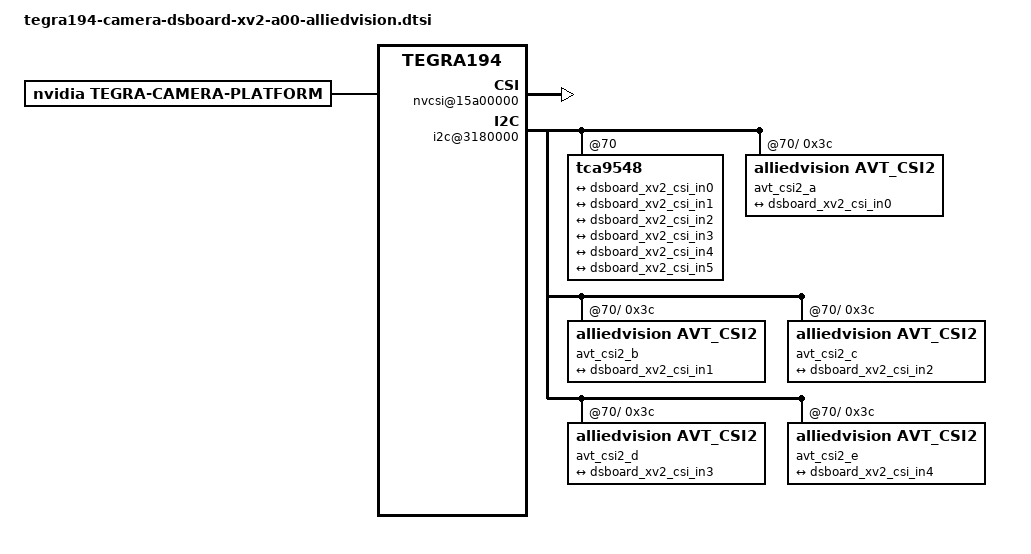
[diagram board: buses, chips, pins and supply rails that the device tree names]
/*
 * Copyright (c) 2015-2019, NVIDIA CORPORATION.  All rights reserved.
 *
 * This program is free software; you can redistribute it and/or modify
 * it under the terms of the GNU General Public License as published by
 * the Free Software Foundation; either version 2 of the License, or
 * (at your option) any later version.
 *
 * This program is distributed in the hope that it will be useful, but WITHOUT
 * ANY WARRANTY; without even the implied warranty of MERCHANTABILITY or
 * FITNESS FOR A PARTICULAR PURPOSE.  See the GNU General Public License for
 * more details.
 *
 * You should have received a copy of the GNU General Public License
 * along with this program.  If not, see <http://www.gnu.org/licenses/>.
 */

/ {
	host1x {
		vi@15c10000 {
			num-channels = <6>;
			ports {
				#address-cells = <1>;
				#size-cells = <0>;
				port@0 {
					status = "okay";
					reg = <0>;
					dsboard_xv2_vi_in0: endpoint {
						status = "okay";
						port-index = <0>;
						bus-width = <2>;
						remote-endpoint = <&dsboard_xv2_csi_out0>;
					};
				};
				port@1 {
					status = "okay";
					reg = <1>;
					dsboard_xv2_vi_in1: endpoint {
						status = "okay";
						port-index = <1>;
						bus-width = <2>;
						remote-endpoint = <&dsboard_xv2_csi_out1>;
					};
				};
				port@2 {
					status = "okay";
					reg = <2>;
					dsboard_xv2_vi_in2: endpoint {
						status = "okay";
						port-index = <2>;
						bus-width = <2>;
						remote-endpoint = <&dsboard_xv2_csi_out2>;
					};
				};
				port@3 {
					status = "okay";
					reg = <3>;
					dsboard_xv2_vi_in3: endpoint {
						status = "okay";
						port-index = <3>;
						bus-width = <2>;
						remote-endpoint = <&dsboard_xv2_csi_out3>;
					};
				};
				port@4 {
					status = "okay";
					reg = <4>;
					dsboard_xv2_vi_in4: endpoint {
						status = "okay";
						port-index = <4>;
						bus-width = <2>;
						remote-endpoint = <&dsboard_xv2_csi_out4>;
					};
				};
				port@5 {
					status="disabled";
					reg = <5>;
					dsboard_xv2_vi_in5: endpoint {
						status="disabled";
						port-index = <5>;
						bus-width = <2>;
						remote-endpoint = <&dsboard_xv2_csi_out5>;
					};
				};
			};
		};

		nvcsi@15a00000 {
			num-channels = <6>;
			#address-cells = <1>;
			#size-cells = <0>;
			status = "okay";
			channel@0 {
				status = "okay";
				reg = <0>;
				ports {
					#address-cells = <1>;
					#size-cells = <0>;
					port@0 {
						status = "okay";
						reg = <0>;
						dsboard_xv2_csi_in0: endpoint@0 {
							status = "okay";
							port-index = <0>;
							bus-width = <2>;
							remote-endpoint = <&dsboard_xv2_avt_csi2_out0>;
						};
					};
					port@1 {
						status = "okay";
						reg = <1>;
						dsboard_xv2_csi_out0: endpoint@1 {
							status = "okay";
							remote-endpoint = <&dsboard_xv2_vi_in0>;
						};
					};
				};
			};
			channel@1 {
				status = "okay";
				reg = <1>;
				ports {
					#address-cells = <1>;
					#size-cells = <0>;
					port@0 {
						status = "okay";
						reg = <0>;
						dsboard_xv2_csi_in1: endpoint@2 {
							status = "okay";
							port-index = <1>;
							bus-width = <2>;
							remote-endpoint = <&dsboard_xv2_avt_csi2_out1>;
						};
					};
					port@1 {
						status = "okay";
						reg = <1>;
						dsboard_xv2_csi_out1: endpoint@3 {
							status = "okay";
							remote-endpoint = <&dsboard_xv2_vi_in1>;
						};
					};
				};
			};
			channel@2 {
				status = "okay";
				reg = <2>;
				ports {
					#address-cells = <1>;
					#size-cells = <0>;
					port@0 {
						status = "okay";
						reg = <0>;
						dsboard_xv2_csi_in2: endpoint@4 {
							status = "okay";
							port-index = <2>;
							bus-width = <2>;
							remote-endpoint = <&dsboard_xv2_avt_csi2_out2>;
						};
					};
					port@1 {
						status = "okay";
						reg = <1>;
						dsboard_xv2_csi_out2: endpoint@5 {
							status = "okay";
							remote-endpoint = <&dsboard_xv2_vi_in2>;
						};
					};
				};
			};
			channel@3 {
				status = "okay";
				reg = <3>;
				ports {
					#address-cells = <1>;
					#size-cells = <0>;
					port@0 {
						status = "okay";
						reg = <0>;
						dsboard_xv2_csi_in3: endpoint@6 {
							status = "okay";
							port-index = <3>;
							bus-width = <2>;
							remote-endpoint = <&dsboard_xv2_avt_csi2_out3>;
						};
					};
					port@1 {
						status = "okay";
						reg = <1>;
						dsboard_xv2_csi_out3: endpoint@7 {
							status = "okay";
							remote-endpoint = <&dsboard_xv2_vi_in3>;
						};
					};
				};
			};
			channel@4 {
				status = "okay";
				reg = <4>;
				ports {
					#address-cells = <1>;
					#size-cells = <0>;
					port@0 {
						status = "okay";
						reg = <0>;
						dsboard_xv2_csi_in4: endpoint@8 {
							status = "okay";
							port-index = <4>;
							bus-width = <2>;
							remote-endpoint = <&dsboard_xv2_avt_csi2_out4>;
						};
					};
					port@1 {
						status = "okay";
						reg = <1>;
						dsboard_xv2_csi_out4: endpoint@9 {
							status = "okay";
							remote-endpoint = <&dsboard_xv2_vi_in4>;
						};
					};
				};
			};
			channel@5 { //in next board revision, the port-index should be updated to 6-G.
				status="disabled";
				reg = <5>;
				ports {
					#address-cells = <1>;
					#size-cells = <0>;
					port@0 {
						status="disabled";
						reg = <0>;
						dsboard_xv2_csi_in5: endpoint@10 {
							status="disabled";
							port-index = <5>;
							bus-width = <2>;
							remote-endpoint = <&dsboard_xv2_avt_csi2_out5>;
						};
					};
					port@1 {
						status="disabled";
						reg = <1>;
						dsboard_xv2_csi_out5: endpoint@11 {
							status="disabled";
							remote-endpoint = <&dsboard_xv2_vi_in5>;
						};
					};
				};
			};
		};
	};

	i2c@3180000 {
		tca9548@70 {
			i2c@0 {
				status = "okay";
				avt_csi2_a@3c {
					compatible = "alliedvision,avt_csi2";
					/* I2C device address */
					reg = <0x3c>;

					/* V4L2 device node location */
					devnode = "video0";

					/* Physical dimensions of sensor */
					//physical_w = "3.680";
					//physical_h = "2.760";

					sensor_model = "avt_csi2";

					use_sensor_mode_id = "true";

					/**
					* ==== Modes ====
					* A modeX node is required to support v4l2 driver
					* implementation with NVIDIA camera software stack
					*
					* == Signal properties ==
					*
					* phy_mode = "";
					* PHY mode used by the MIPI lanes for this device
					*
					* tegra_sinterface = "";
					* CSI Serial interface connected to tegra
					* Incase of virtual HW devices, use virtual
					* For SW emulated devices, use host
					*
					* pix_clk_hz = "";
					* Sensor pixel clock used for calculations like exposure and framerate
					*
					* readout_orientation = "0";
					* Based on camera module orientation.
					* Only change readout_orientation if you specifically
					* Program a different readout order for this mode
					*
					* == Image format Properties ==
					*
					* active_w = "";
					* Pixel active region width
					*
					* active_h = "";
					* Pixel active region height
					*
					* pixel_t = "";
					* The sensor readout pixel pattern
					*
					* line_length = "";
					* Pixel line length (width) for sensor mode.
					*
					* == Source Control Settings ==
					*
					* Gain factor used to convert fixed point integer to float
					* Gain range [min_gain/gain_factor, max_gain/gain_factor]
					* Gain step [step_gain/gain_factor is the smallest step that can be configured]
					* Default gain [Default gain to be initialized for the control.
					*     use min_gain_val as default for optimal results]
					* Framerate factor used to convert fixed point integer to float
					* Framerate range [min_framerate/framerate_factor, max_framerate/framerate_factor]
					* Framerate step [step_framerate/framerate_factor is the smallest step that can be configured]
					* Default Framerate [Default framerate to be initialized for the control.
					*     use max_framerate to get required performance]
					* Exposure factor used to convert fixed point integer to float
					* For convenience use 1 sec = 1000000us as conversion factor
					* Exposure range [min_exp_time/exposure_factor, max_exp_time/exposure_factor]
					* Exposure step [step_exp_time/exposure_factor is the smallest step that can be configured]
					* Default Exposure Time [Default exposure to be initialized for the control.
					*     Set default exposure based on the default_framerate for optimal exposure settings]
					*
					* gain_factor = ""; (integer factor used for floating to fixed point conversion)
					* min_gain_val = ""; (ceil to integer)
					* max_gain_val = ""; (ceil to integer)
					* step_gain_val = ""; (ceil to integer)
					* default_gain = ""; (ceil to integer)
					* Gain limits for mode
					*
					* exposure_factor = ""; (integer factor used for floating to fixed point conversion)
					* min_exp_time = ""; (ceil to integer)
					* max_exp_time = ""; (ceil to integer)
					* step_exp_time = ""; (ceil to integer)
					* default_exp_time = ""; (ceil to integer)
					* Exposure Time limits for mode (sec)
					*
					* framerate_factor = ""; (integer factor used for floating to fixed point conversion)
					* min_framerate = ""; (ceil to integer)
					* max_framerate = ""; (ceil to integer)
					* step_framerate = ""; (ceil to integer)
					* default_framerate = ""; (ceil to integer)
					* Framerate limits for mode (fps)
					*
					* embedded_metadata_height = "";
					* Sensor embedded metadata height in units of rows.
					* If sensor does not support embedded metadata value should be 0.
					*/
					mode0 {
						num_lanes = "2";
						tegra_sinterface = "serial_a";
						discontinuous_clk = "no"; /* "yes"; */
						cil_settletime = "0";
						embedded_metadata_height = "0";

						/* not verified: */
						mclk_khz = "24000";
						phy_mode = "DPHY";
						dpcm_enable = "false";

						active_w = "5488"; /* "3264"; */
						active_h = "4112"; /* "2464"; */
						pixel_t = "bayer_bggr"; /* "bayer_rggb"; */
						readout_orientation = "0"; /* "90"; */
						line_length = "5488"; /* "3448"; */
						inherent_gain = "1";
						mclk_multiplier = "31.25"; /* "9.33"; */
						pix_clk_hz = "750000000"; /* "182400000"; */

						gain_factor = "16";
						framerate_factor = "1000000";
						exposure_factor = "1000000";
						min_gain_val = "16"; /* 1.0 */
						max_gain_val = "256"; /* 16.0 */ /* "170"; */
						step_gain_val = "1"; /* 0.125 */
						/* default_gain = "16"; */ /* 1.00x */
						min_hdr_ratio = "1";
						max_hdr_ratio = "64"; /* "1"; */
						min_framerate = "1500000"; /* 1.5 */ /* "2000000"; */
						max_framerate = "30000000"; /* 30 */ /* "21000000"; */
						step_framerate = "1";
						/* default_framerate = "21000000"; */ /* 21.0 fps */
						min_exp_time = "34"; /* us */ /* "13"; */
						max_exp_time = "550385"; /* us */ /* "683709"; */
						step_exp_time = "1";
						/* default_exp_time = "2495"; */ /* us */

						/* embedded_metadata_height = "2"; */
					};

					ports {
						#address-cells = <1>;
						#size-cells = <0>;

						port@0 {
							status = "okay";
							reg = <0>;
							dsboard_xv2_avt_csi2_out0: endpoint {
								status = "okay";
								port-index = <0>;
								bus-width = <2>;
								remote-endpoint = <&dsboard_xv2_csi_in0>;
							};
						};
					};
				};
			};

			i2c@1 {
				avt_csi2_b@3c {
					compatible = "alliedvision,avt_csi2";
					/* I2C device address */
					reg = <0x3c>;

					/* V4L2 device node location */
					devnode = "video1";

					/* Physical dimensions of sensor */
					//physical_w = "3.680";
					//physical_h = "2.760";

					sensor_model = "avt_csi2";

					use_sensor_mode_id = "true";

					/**
					* ==== Modes ====
					* A modeX node is required to support v4l2 driver
					* implementation with NVIDIA camera software stack
					*
					* == Signal properties ==
					*
					* phy_mode = "";
					* PHY mode used by the MIPI lanes for this device
					*
					* tegra_sinterface = "";
					* CSI Serial interface connected to tegra
					* Incase of virtual HW devices, use virtual
					* For SW emulated devices, use host
					*
					* pix_clk_hz = "";
					* Sensor pixel clock used for calculations like exposure and framerate
					*
					* readout_orientation = "0";
					* Based on camera module orientation.
					* Only change readout_orientation if you specifically
					* Program a different readout order for this mode
					*
					* == Image format Properties ==
					*
					* active_w = "";
					* Pixel active region width
					*
					* active_h = "";
					* Pixel active region height
					*
					* pixel_t = "";
					* The sensor readout pixel pattern
					*
					* line_length = "";
					* Pixel line length (width) for sensor mode.
					*
					* == Source Control Settings ==
					*
					* Gain factor used to convert fixed point integer to float
					* Gain range [min_gain/gain_factor, max_gain/gain_factor]
					* Gain step [step_gain/gain_factor is the smallest step that can be configured]
					* Default gain [Default gain to be initialized for the control.
					*     use min_gain_val as default for optimal results]
					* Framerate factor used to convert fixed point integer to float
					* Framerate range [min_framerate/framerate_factor, max_framerate/framerate_factor]
					* Framerate step [step_framerate/framerate_factor is the smallest step that can be configured]
					* Default Framerate [Default framerate to be initialized for the control.
					*     use max_framerate to get required performance]
					* Exposure factor used to convert fixed point integer to float
					* For convenience use 1 sec = 1000000us as conversion factor
					* Exposure range [min_exp_time/exposure_factor, max_exp_time/exposure_factor]
					* Exposure step [step_exp_time/exposure_factor is the smallest step that can be configured]
					* Default Exposure Time [Default exposure to be initialized for the control.
					*     Set default exposure based on the default_framerate for optimal exposure settings]
					*
					* gain_factor = ""; (integer factor used for floating to fixed point conversion)
					* min_gain_val = ""; (ceil to integer)
					* max_gain_val = ""; (ceil to integer)
					* step_gain_val = ""; (ceil to integer)
					* default_gain = ""; (ceil to integer)
					* Gain limits for mode
					*
					* exposure_factor = ""; (integer factor used for floating to fixed point conversion)
					* min_exp_time = ""; (ceil to integer)
					* max_exp_time = ""; (ceil to integer)
					* step_exp_time = ""; (ceil to integer)
					* default_exp_time = ""; (ceil to integer)
					* Exposure Time limits for mode (sec)
					*
					* framerate_factor = ""; (integer factor used for floating to fixed point conversion)
					* min_framerate = ""; (ceil to integer)
					* max_framerate = ""; (ceil to integer)
					* step_framerate = ""; (ceil to integer)
					* default_framerate = ""; (ceil to integer)
					* Framerate limits for mode (fps)
					*
					* embedded_metadata_height = "";
					* Sensor embedded metadata height in units of rows.
					* If sensor does not support embedded metadata value should be 0.
					*/
					mode0 {
						num_lanes = "2";
						tegra_sinterface = "serial_b";
						discontinuous_clk = "no"; /* "yes"; */
						cil_settletime = "0";
						embedded_metadata_height = "0";

						/* not verified: */
						mclk_khz = "24000";
						phy_mode = "DPHY";
						dpcm_enable = "false";

						active_w = "5488"; /* "3264"; */
						active_h = "4112"; /* "2464"; */
						pixel_t = "bayer_bggr"; /* "bayer_rggb"; */
						readout_orientation = "0"; /* "90"; */
						line_length = "5488"; /* "3448"; */
						inherent_gain = "1";
						mclk_multiplier = "31.25"; /* "9.33"; */
						pix_clk_hz = "750000000"; /* "182400000"; */

						gain_factor = "16";
						framerate_factor = "1000000";
						exposure_factor = "1000000";
						min_gain_val = "16"; /* 1.0 */
						max_gain_val = "256"; /* 16.0 */ /* "170"; */
						step_gain_val = "1"; /* 0.125 */
						/* default_gain = "16"; */ /* 1.00x */
						min_hdr_ratio = "1";
						max_hdr_ratio = "64"; /* "1"; */
						min_framerate = "1500000"; /* 1.5 */ /* "2000000"; */
						max_framerate = "30000000"; /* 30 */ /* "21000000"; */
						step_framerate = "1";
						/* default_framerate = "21000000"; */ /* 21.0 fps */
						min_exp_time = "34"; /* us */ /* "13"; */
						max_exp_time = "550385"; /* us */ /* "683709"; */
						step_exp_time = "1";
						/* default_exp_time = "2495"; */ /* us */

						/* embedded_metadata_height = "2"; */
					};

					ports {
						#address-cells = <1>;
						#size-cells = <0>;

						port@0 {
							reg = <0>;
							dsboard_xv2_avt_csi2_out1: endpoint {
								port-index = <1>;
								bus-width = <2>;
								remote-endpoint = <&dsboard_xv2_csi_in1>;
							};
						};
					};
				};
			};

			i2c@2 {
				avt_csi2_c@3c {
					compatible = "alliedvision,avt_csi2";
					/* I2C device address */
					reg = <0x3c>;

					/* V4L2 device node location */
					devnode = "video2";

					/* Physical dimensions of sensor */
					//physical_w = "3.680";
					//physical_h = "2.760";

					sensor_model = "avt_csi2";

					use_sensor_mode_id = "true";

					/**
					* ==== Modes ====
					* A modeX node is required to support v4l2 driver
					* implementation with NVIDIA camera software stack
					*
					* == Signal properties ==
					*
					* phy_mode = "";
					* PHY mode used by the MIPI lanes for this device
					*
					* tegra_sinterface = "";
					* CSI Serial interface connected to tegra
					* Incase of virtual HW devices, use virtual
					* For SW emulated devices, use host
					*
					* pix_clk_hz = "";
					* Sensor pixel clock used for calculations like exposure and framerate
					*
					* readout_orientation = "0";
					* Based on camera module orientation.
					* Only change readout_orientation if you specifically
					* Program a different readout order for this mode
					*
					* == Image format Properties ==
					*
					* active_w = "";
					* Pixel active region width
					*
					* active_h = "";
					* Pixel active region height
					*
					* pixel_t = "";
					* The sensor readout pixel pattern
					*
					* line_length = "";
					* Pixel line length (width) for sensor mode.
					*
					* == Source Control Settings ==
					*
					* Gain factor used to convert fixed point integer to float
					* Gain range [min_gain/gain_factor, max_gain/gain_factor]
					* Gain step [step_gain/gain_factor is the smallest step that can be configured]
					* Default gain [Default gain to be initialized for the control.
					*     use min_gain_val as default for optimal results]
					* Framerate factor used to convert fixed point integer to float
					* Framerate range [min_framerate/framerate_factor, max_framerate/framerate_factor]
					* Framerate step [step_framerate/framerate_factor is the smallest step that can be configured]
					* Default Framerate [Default framerate to be initialized for the control.
					*     use max_framerate to get required performance]
					* Exposure factor used to convert fixed point integer to float
					* For convenience use 1 sec = 1000000us as conversion factor
					* Exposure range [min_exp_time/exposure_factor, max_exp_time/exposure_factor]
					* Exposure step [step_exp_time/exposure_factor is the smallest step that can be configured]
					* Default Exposure Time [Default exposure to be initialized for the control.
					*     Set default exposure based on the default_framerate for optimal exposure settings]
					*
					* gain_factor = ""; (integer factor used for floating to fixed point conversion)
					* min_gain_val = ""; (ceil to integer)
					* max_gain_val = ""; (ceil to integer)
					* step_gain_val = ""; (ceil to integer)
					* default_gain = ""; (ceil to integer)
					* Gain limits for mode
					*
					* exposure_factor = ""; (integer factor used for floating to fixed point conversion)
					* min_exp_time = ""; (ceil to integer)
					* max_exp_time = ""; (ceil to integer)
					* step_exp_time = ""; (ceil to integer)
					* default_exp_time = ""; (ceil to integer)
					* Exposure Time limits for mode (sec)
					*
					* framerate_factor = ""; (integer factor used for floating to fixed point conversion)
					* min_framerate = ""; (ceil to integer)
					* max_framerate = ""; (ceil to integer)
					* step_framerate = ""; (ceil to integer)
					* default_framerate = ""; (ceil to integer)
					* Framerate limits for mode (fps)
					*
					* embedded_metadata_height = "";
					* Sensor embedded metadata height in units of rows.
					* If sensor does not support embedded metadata value should be 0.
					*/
					mode0 {
						num_lanes = "2";
						tegra_sinterface = "serial_c";
						discontinuous_clk = "no"; /* "yes"; */
						cil_settletime = "0";
						embedded_metadata_height = "0";

						/* not verified: */
						mclk_khz = "24000";
						phy_mode = "DPHY";
						dpcm_enable = "false";

						active_w = "5488"; /* "3264"; */
						active_h = "4112"; /* "2464"; */
						pixel_t = "bayer_bggr"; /* "bayer_rggb"; */
						readout_orientation = "0"; /* "90"; */
						line_length = "5488"; /* "3448"; */
						inherent_gain = "1";
						mclk_multiplier = "31.25"; /* "9.33"; */
						pix_clk_hz = "750000000"; /* "182400000"; */

						gain_factor = "16";
						framerate_factor = "1000000";
						exposure_factor = "1000000";
						min_gain_val = "16"; /* 1.0 */
						max_gain_val = "256"; /* 16.0 */ /* "170"; */
						step_gain_val = "1"; /* 0.125 */
						/* default_gain = "16"; */ /* 1.00x */
						min_hdr_ratio = "1";
						max_hdr_ratio = "64"; /* "1"; */
						min_framerate = "1500000"; /* 1.5 */ /* "2000000"; */
						max_framerate = "30000000"; /* 30 */ /* "21000000"; */
						step_framerate = "1";
						/* default_framerate = "21000000"; */ /* 21.0 fps */
						min_exp_time = "34"; /* us */ /* "13"; */
						max_exp_time = "550385"; /* us */ /* "683709"; */
						step_exp_time = "1";
						/* default_exp_time = "2495"; */ /* us */

						/* embedded_metadata_height = "2"; */
					};

					ports {
						#address-cells = <1>;
						#size-cells = <0>;

						port@0 {
							reg = <0>;
							dsboard_xv2_avt_csi2_out2: endpoint {
								port-index = <2>;
								bus-width = <2>;
								remote-endpoint = <&dsboard_xv2_csi_in2>;
							};
						};
					};
				};
			};

			i2c@3 {
				avt_csi2_d@3c {
					compatible = "alliedvision,avt_csi2";
					/* I2C device address */
					reg = <0x3c>;

					/* V4L2 device node location */
					devnode = "video3";

					/* Physical dimensions of sensor */
					//physical_w = "3.680";
					//physical_h = "2.760";

					sensor_model = "avt_csi2";

					use_sensor_mode_id = "true";

					/**
					* ==== Modes ====
					* A modeX node is required to support v4l2 driver
					* implementation with NVIDIA camera software stack
					*
					* == Signal properties ==
					*
					* phy_mode = "";
					* PHY mode used by the MIPI lanes for this device
					*
					* tegra_sinterface = "";
					* CSI Serial interface connected to tegra
					* Incase of virtual HW devices, use virtual
					* For SW emulated devices, use host
					*
					* pix_clk_hz = "";
					* Sensor pixel clock used for calculations like exposure and framerate
					*
					* readout_orientation = "0";
					* Based on camera module orientation.
					* Only change readout_orientation if you specifically
					* Program a different readout order for this mode
					*
					* == Image format Properties ==
					*
					* active_w = "";
					* Pixel active region width
					*
					* active_h = "";
					* Pixel active region height
					*
					* pixel_t = "";
					* The sensor readout pixel pattern
					*
					* line_length = "";
					* Pixel line length (width) for sensor mode.
					*
					* == Source Control Settings ==
					*
					* Gain factor used to convert fixed point integer to float
					* Gain range [min_gain/gain_factor, max_gain/gain_factor]
					* Gain step [step_gain/gain_factor is the smallest step that can be configured]
					* Default gain [Default gain to be initialized for the control.
					*     use min_gain_val as default for optimal results]
					* Framerate factor used to convert fixed point integer to float
					* Framerate range [min_framerate/framerate_factor, max_framerate/framerate_factor]
					* Framerate step [step_framerate/framerate_factor is the smallest step that can be configured]
					* Default Framerate [Default framerate to be initialized for the control.
					*     use max_framerate to get required performance]
					* Exposure factor used to convert fixed point integer to float
					* For convenience use 1 sec = 1000000us as conversion factor
					* Exposure range [min_exp_time/exposure_factor, max_exp_time/exposure_factor]
					* Exposure step [step_exp_time/exposure_factor is the smallest step that can be configured]
					* Default Exposure Time [Default exposure to be initialized for the control.
					*     Set default exposure based on the default_framerate for optimal exposure settings]
					*
					* gain_factor = ""; (integer factor used for floating to fixed point conversion)
					* min_gain_val = ""; (ceil to integer)
					* max_gain_val = ""; (ceil to integer)
					* step_gain_val = ""; (ceil to integer)
					* default_gain = ""; (ceil to integer)
					* Gain limits for mode
					*
					* exposure_factor = ""; (integer factor used for floating to fixed point conversion)
					* min_exp_time = ""; (ceil to integer)
					* max_exp_time = ""; (ceil to integer)
					* step_exp_time = ""; (ceil to integer)
					* default_exp_time = ""; (ceil to integer)
					* Exposure Time limits for mode (sec)
					*
					* framerate_factor = ""; (integer factor used for floating to fixed point conversion)
					* min_framerate = ""; (ceil to integer)
					* max_framerate = ""; (ceil to integer)
					* step_framerate = ""; (ceil to integer)
					* default_framerate = ""; (ceil to integer)
					* Framerate limits for mode (fps)
					*
					* embedded_metadata_height = "";
					* Sensor embedded metadata height in units of rows.
					* If sensor does not support embedded metadata value should be 0.
					*/
					mode0 {
						num_lanes = "2";
						tegra_sinterface = "serial_d";
						discontinuous_clk = "no"; /* "yes"; */
						cil_settletime = "0";
						embedded_metadata_height = "0";

						/* not verified: */
						mclk_khz = "24000";
						phy_mode = "DPHY";
						dpcm_enable = "false";

						active_w = "5488"; /* "3264"; */
						active_h = "4112"; /* "2464"; */
						pixel_t = "bayer_bggr"; /* "bayer_rggb"; */
						readout_orientation = "0"; /* "90"; */
						line_length = "5488"; /* "3448"; */
						inherent_gain = "1";
						mclk_multiplier = "31.25"; /* "9.33"; */
						pix_clk_hz = "750000000"; /* "182400000"; */

						gain_factor = "16";
						framerate_factor = "1000000";
						exposure_factor = "1000000";
						min_gain_val = "16"; /* 1.0 */
						max_gain_val = "256"; /* 16.0 */ /* "170"; */
						step_gain_val = "1"; /* 0.125 */
						/* default_gain = "16"; */ /* 1.00x */
						min_hdr_ratio = "1";
						max_hdr_ratio = "64"; /* "1"; */
						min_framerate = "1500000"; /* 1.5 */ /* "2000000"; */
						max_framerate = "30000000"; /* 30 */ /* "21000000"; */
						step_framerate = "1";
						/* default_framerate = "21000000"; */ /* 21.0 fps */
						min_exp_time = "34"; /* us */ /* "13"; */
						max_exp_time = "550385"; /* us */ /* "683709"; */
						step_exp_time = "1";
						/* default_exp_time = "2495"; */ /* us */

						/* embedded_metadata_height = "2"; */
					};

					ports {
						#address-cells = <1>;
						#size-cells = <0>;

						port@0 {
							reg = <0>;
							dsboard_xv2_avt_csi2_out3: endpoint {
								port-index = <3>;
								bus-width = <2>;
								remote-endpoint = <&dsboard_xv2_csi_in3>;
							};
						};
					};
				};
			};

			i2c@4 {
				avt_csi2_e@3c {
					compatible = "alliedvision,avt_csi2";
					/* I2C device address */
					reg = <0x3c>;

					/* V4L2 device node location */
					devnode = "video4";

					/* Physical dimensions of sensor */
					//physical_w = "3.680";
					//physical_h = "2.760";

					sensor_model = "avt_csi2";

					use_sensor_mode_id = "true";

					/**
					* ==== Modes ====
					* A modeX node is required to support v4l2 driver
					* implementation with NVIDIA camera software stack
					*
					* == Signal properties ==
					*
					* phy_mode = "";
					* PHY mode used by the MIPI lanes for this device
					*
					* tegra_sinterface = "";
					* CSI Serial interface connected to tegra
					* Incase of virtual HW devices, use virtual
					* For SW emulated devices, use host
					*
					* pix_clk_hz = "";
					* Sensor pixel clock used for calculations like exposure and framerate
					*
					* readout_orientation = "0";
					* Based on camera module orientation.
					* Only change readout_orientation if you specifically
					* Program a different readout order for this mode
					*
					* == Image format Properties ==
					*
					* active_w = "";
					* Pixel active region width
					*
					* active_h = "";
					* Pixel active region height
					*
					* pixel_t = "";
					* The sensor readout pixel pattern
					*
					* line_length = "";
					* Pixel line length (width) for sensor mode.
					*
					* == Source Control Settings ==
					*
					* Gain factor used to convert fixed point integer to float
					* Gain range [min_gain/gain_factor, max_gain/gain_factor]
					* Gain step [step_gain/gain_factor is the smallest step that can be configured]
					* Default gain [Default gain to be initialized for the control.
					*     use min_gain_val as default for optimal results]
					* Framerate factor used to convert fixed point integer to float
					* Framerate range [min_framerate/framerate_factor, max_framerate/framerate_factor]
					* Framerate step [step_framerate/framerate_factor is the smallest step that can be configured]
					* Default Framerate [Default framerate to be initialized for the control.
					*     use max_framerate to get required performance]
					* Exposure factor used to convert fixed point integer to float
					* For convenience use 1 sec = 1000000us as conversion factor
					* Exposure range [min_exp_time/exposure_factor, max_exp_time/exposure_factor]
					* Exposure step [step_exp_time/exposure_factor is the smallest step that can be configured]
					* Default Exposure Time [Default exposure to be initialized for the control.
					*     Set default exposure based on the default_framerate for optimal exposure settings]
					*
					* gain_factor = ""; (integer factor used for floating to fixed point conversion)
					* min_gain_val = ""; (ceil to integer)
					* max_gain_val = ""; (ceil to integer)
					* step_gain_val = ""; (ceil to integer)
					* default_gain = ""; (ceil to integer)
					* Gain limits for mode
					*
					* exposure_factor = ""; (integer factor used for floating to fixed point conversion)
					* min_exp_time = ""; (ceil to integer)
					* max_exp_time = ""; (ceil to integer)
					* step_exp_time = ""; (ceil to integer)
					* default_exp_time = ""; (ceil to integer)
					* Exposure Time limits for mode (sec)
					*
					* framerate_factor = ""; (integer factor used for floating to fixed point conversion)
					* min_framerate = ""; (ceil to integer)
					* max_framerate = ""; (ceil to integer)
					* step_framerate = ""; (ceil to integer)
					* default_framerate = ""; (ceil to integer)
					* Framerate limits for mode (fps)
					*
					* embedded_metadata_height = "";
					* Sensor embedded metadata height in units of rows.
					* If sensor does not support embedded metadata value should be 0.
					*/
					mode0 {
						num_lanes = "2";
						tegra_sinterface = "serial_e";
						discontinuous_clk = "no"; /* "yes"; */
						cil_settletime = "0";
						embedded_metadata_height = "0";

						/* not verified: */
						mclk_khz = "24000";
						phy_mode = "DPHY";
						dpcm_enable = "false";

						active_w = "5488"; /* "3264"; */
						active_h = "4112"; /* "2464"; */
						pixel_t = "bayer_bggr"; /* "bayer_rggb"; */
						readout_orientation = "0"; /* "90"; */
						line_length = "5488"; /* "3448"; */
						inherent_gain = "1";
						mclk_multiplier = "31.25"; /* "9.33"; */
						pix_clk_hz = "750000000"; /* "182400000"; */

						gain_factor = "16";
						framerate_factor = "1000000";
						exposure_factor = "1000000";
						min_gain_val = "16"; /* 1.0 */
						max_gain_val = "256"; /* 16.0 */ /* "170"; */
						step_gain_val = "1"; /* 0.125 */
						/* default_gain = "16"; */ /* 1.00x */
						min_hdr_ratio = "1";
						max_hdr_ratio = "64"; /* "1"; */
						min_framerate = "1500000"; /* 1.5 */ /* "2000000"; */
						max_framerate = "30000000"; /* 30 */ /* "21000000"; */
						step_framerate = "1";
						/* default_framerate = "21000000"; */ /* 21.0 fps */
						min_exp_time = "34"; /* us */ /* "13"; */
						max_exp_time = "550385"; /* us */ /* "683709"; */
						step_exp_time = "1";
						/* default_exp_time = "2495"; */ /* us */

						/* embedded_metadata_height = "2"; */
					};

					ports {
						#address-cells = <1>;
						#size-cells = <0>;

						port@0 {
							reg = <0>;
							dsboard_xv2_avt_csi2_out4: endpoint {
								port-index = <4>;
								bus-width = <2>;
								remote-endpoint = <&dsboard_xv2_csi_in4>;
							};
						};
					};
				};
			};

			i2c@5 {
				avt_csi2_f@3c {
					status="disabled";
					compatible = "alliedvision,avt_csi2";
					/* I2C device address */
					reg = <0x3c>;

					/* V4L2 device node location */
					devnode = "video5";

					/* Physical dimensions of sensor */
					//physical_w = "3.680";
					//physical_h = "2.760";

					sensor_model = "avt_csi2";

					use_sensor_mode_id = "true";

					/**
					* ==== Modes ====
					* A modeX node is required to support v4l2 driver
					* implementation with NVIDIA camera software stack
					*
					* == Signal properties ==
					*
					* phy_mode = "";
					* PHY mode used by the MIPI lanes for this device
					*
					* tegra_sinterface = "";
					* CSI Serial interface connected to tegra
					* Incase of virtual HW devices, use virtual
					* For SW emulated devices, use host
					*
					* pix_clk_hz = "";
					* Sensor pixel clock used for calculations like exposure and framerate
					*
					* readout_orientation = "0";
					* Based on camera module orientation.
					* Only change readout_orientation if you specifically
					* Program a different readout order for this mode
					*
					* == Image format Properties ==
					*
					* active_w = "";
					* Pixel active region width
					*
					* active_h = "";
					* Pixel active region height
					*
					* pixel_t = "";
					* The sensor readout pixel pattern
					*
					* line_length = "";
					* Pixel line length (width) for sensor mode.
					*
					* == Source Control Settings ==
					*
					* Gain factor used to convert fixed point integer to float
					* Gain range [min_gain/gain_factor, max_gain/gain_factor]
					* Gain step [step_gain/gain_factor is the smallest step that can be configured]
					* Default gain [Default gain to be initialized for the control.
					*     use min_gain_val as default for optimal results]
					* Framerate factor used to convert fixed point integer to float
					* Framerate range [min_framerate/framerate_factor, max_framerate/framerate_factor]
					* Framerate step [step_framerate/framerate_factor is the smallest step that can be configured]
					* Default Framerate [Default framerate to be initialized for the control.
					*     use max_framerate to get required performance]
					* Exposure factor used to convert fixed point integer to float
					* For convenience use 1 sec = 1000000us as conversion factor
					* Exposure range [min_exp_time/exposure_factor, max_exp_time/exposure_factor]
					* Exposure step [step_exp_time/exposure_factor is the smallest step that can be configured]
					* Default Exposure Time [Default exposure to be initialized for the control.
					*     Set default exposure based on the default_framerate for optimal exposure settings]
					*
					* gain_factor = ""; (integer factor used for floating to fixed point conversion)
					* min_gain_val = ""; (ceil to integer)
					* max_gain_val = ""; (ceil to integer)
					* step_gain_val = ""; (ceil to integer)
					* default_gain = ""; (ceil to integer)
					* Gain limits for mode
					*
					* exposure_factor = ""; (integer factor used for floating to fixed point conversion)
					* min_exp_time = ""; (ceil to integer)
					* max_exp_time = ""; (ceil to integer)
					* step_exp_time = ""; (ceil to integer)
					* default_exp_time = ""; (ceil to integer)
					* Exposure Time limits for mode (sec)
					*
					* framerate_factor = ""; (integer factor used for floating to fixed point conversion)
					* min_framerate = ""; (ceil to integer)
					* max_framerate = ""; (ceil to integer)
					* step_framerate = ""; (ceil to integer)
					* default_framerate = ""; (ceil to integer)
					* Framerate limits for mode (fps)
					*
					* embedded_metadata_height = "";
					* Sensor embedded metadata height in units of rows.
					* If sensor does not support embedded metadata value should be 0.
					*/
					mode0 {
						num_lanes = "2";
						tegra_sinterface = "serial_f";
						discontinuous_clk = "no"; /* "yes"; */
						cil_settletime = "0";
						embedded_metadata_height = "0";

						/* not verified: */
						mclk_khz = "24000";
						phy_mode = "DPHY";
						dpcm_enable = "false";

						active_w = "5488"; /* "3264"; */
						active_h = "4112"; /* "2464"; */
						pixel_t = "bayer_bggr"; /* "bayer_rggb"; */
						readout_orientation = "0"; /* "90"; */
						line_length = "5488"; /* "3448"; */
						inherent_gain = "1";
						mclk_multiplier = "31.25"; /* "9.33"; */
						pix_clk_hz = "750000000"; /* "182400000"; */

						gain_factor = "16";
						framerate_factor = "1000000";
						exposure_factor = "1000000";
						min_gain_val = "16"; /* 1.0 */
						max_gain_val = "256"; /* 16.0 */ /* "170"; */
						step_gain_val = "1"; /* 0.125 */
						/* default_gain = "16"; */ /* 1.00x */
						min_hdr_ratio = "1";
						max_hdr_ratio = "64"; /* "1"; */
						min_framerate = "1500000"; /* 1.5 */ /* "2000000"; */
						max_framerate = "30000000"; /* 30 */ /* "21000000"; */
						step_framerate = "1";
						/* default_framerate = "21000000"; */ /* 21.0 fps */
						min_exp_time = "34"; /* us */ /* "13"; */
						max_exp_time = "550385"; /* us */ /* "683709"; */
						step_exp_time = "1";
						/* default_exp_time = "2495"; */ /* us */

						/* embedded_metadata_height = "2"; */
					};

					ports {
						#address-cells = <1>;
						#size-cells = <0>;

						port@0 {
							reg = <0>;
							dsboard_xv2_avt_csi2_out5: endpoint {
								port-index = <5>;
								bus-width = <2>;
								remote-endpoint = <&dsboard_xv2_csi_in5>;
							};
						};
					};
				};
			};
		};
	};

	tegra-camera-platform {
		compatible = "nvidia, tegra-camera-platform";
		/**
		* Physical settings to calculate max ISO BW
		*
		* num_csi_lanes = <>;
		* Total number of CSI lanes when all cameras are active
		*
		* max_lane_speed = <>;
		* Max lane speed in Kbit/s
		*
		* min_bits_per_pixel = <>;
		* Min bits per pixel
		*
		* vi_peak_byte_per_pixel = <>;
		* Max byte per pixel for the VI ISO case
		*
		* vi_bw_margin_pct = <>;
		* Vi bandwidth margin in percentage
		*
		* max_pixel_rate = <>;
		* Max pixel rate in Kpixel/s for the ISP ISO case
		* Set this to the highest pix_clk_hz out of all available modes.
		*
		* isp_peak_byte_per_pixel = <>;
		* Max byte per pixel for the ISP ISO case
		*
		* isp_bw_margin_pct = <>;
		* Isp bandwidth margin in percentage
		*/
		num_csi_lanes = <10>;
		max_lane_speed = <1500000>;
		min_bits_per_pixel = <8>; /* <10>; */
		vi_peak_byte_per_pixel = <2>;
		vi_bw_margin_pct = <25>;
		max_pixel_rate = <160000>;
		//max_pixel_rate = <240000>;
		isp_peak_byte_per_pixel = <5>;
		isp_bw_margin_pct = <25>;

		/**
		* The general guideline for naming badge_info contains 3 parts, and is as follows,
		* The first part is the camera_board_id for the module; if the module is in a FFD
		* platform, then use the platform name for this part.
		* The second part contains the position of the module, ex. “rear” or “front”.
		* The third part contains the last 6 characters of a part number which is found
		* in the module's specsheet from the vender.
		*/
		modules {
			module0 {
				status = "okay";
				badge = "dsboard_xv2_bottomleft_P5V27C";
				position = "bottomleft";
				orientation = "1";
				drivernode0 {
					status = "okay";
					pcl_id = "v4l2_sensor";
					devname = "avt_csi2 30-003c";
					proc-device-tree = "/proc/device-tree/i2c@3180000/tca9548@70/i2c@0/avt_csi2_a@3c";
				};
			};
			module1 {
				status = "okay";
				badge = "dsboard_xv2_centerleft_P5V27C";
				position = "centerleft";
				orientation = "1";
				drivernode0 {
					status = "okay";
					pcl_id = "v4l2_sensor";
					devname = "avt_csi2 31-003c";
					proc-device-tree = "/proc/device-tree/i2c@3180000/tca9548@70/i2c@1/avt_csi2_b@3c";
				};
			};
			module2 {
				status = "okay";
				badge = "dsboard_xv2_centerright_P5V27C";
				position = "centerright";
				orientation = "1";
				drivernode0 {
					status = "okay";
					pcl_id = "v4l2_sensor";
					devname = "avt_csi2 32-003c";
					proc-device-tree = "/proc/device-tree/i2c@3180000/tca9548@70/i2c@2/avt_csi2_c@3c";
				};
			};
			module3 {
				status = "okay";
				badge = "dsboard_xv2_topleft_P5V27C";
				position = "topleft";
				orientation = "1";
				drivernode0 {
					status = "okay";
					pcl_id = "v4l2_sensor";
					devname = "avt_csi2 33-003c";
					proc-device-tree = "/proc/device-tree/i2c@3180000/tca9548@70/i2c@3/avt_csi2_d@3c";
				};
			};
			module4 {
				status = "okay";
				badge = "dsboard_xv2_bottomright_P5V27C";
				position = "bottomright";
				orientation = "1";
				drivernode0 {
					status = "okay";
					pcl_id = "v4l2_sensor";
					devname = "avt_csi2 34-003c";
					proc-device-tree = "/proc/device-tree/i2c@3180000/tca9548@70/i2c@4/avt_csi2_e@3c";
				};
			};
			module5 {
				status = "disabled";
				badge = "dsboard_xv2_topright_P5V27C";
				position = "topright";
				orientation = "1";
				drivernode0 {
					status = "disabled";
					pcl_id = "v4l2_sensor";
					devname = "avt_csi2 35-003c";
					proc-device-tree = "/proc/device-tree/i2c@3180000/tca9548@70/i2c@5/avt_csi2_f@3c";
				};
			};
		};
	};
};
